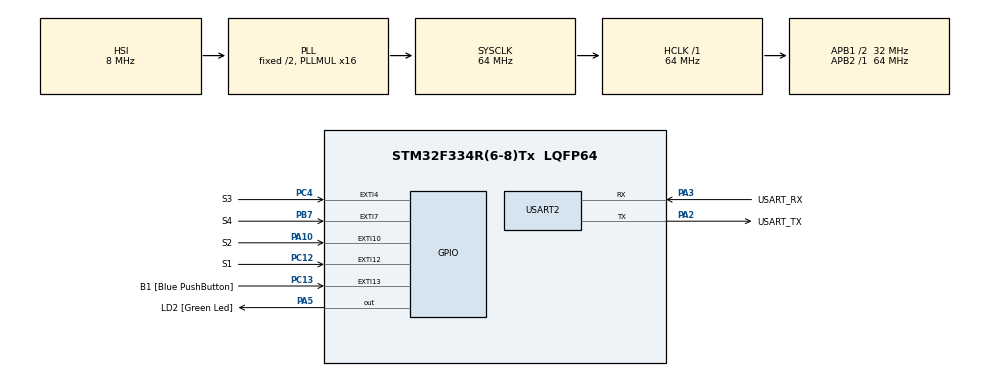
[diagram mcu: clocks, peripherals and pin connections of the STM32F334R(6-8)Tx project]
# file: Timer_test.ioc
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Mcu.Family=STM32F3
Mcu.Name=STM32F334R(6-8)Tx
Mcu.Package=LQFP64
NVIC.EXTI15_10_IRQn=true\:0\:0\:false\:false\:true\:true\:true
NVIC.EXTI4_IRQn=true\:0\:0\:false\:false\:true\:true\:true
NVIC.EXTI9_5_IRQn=true\:0\:0\:false\:false\:true\:true\:true
NVIC.PriorityGroup=NVIC_PRIORITYGROUP_0
NVIC.TIM3_IRQn=true\:0\:0\:false\:false\:true\:true\:true
PA10.GPIO_Label=S2
PA10.Signal=GPXTI10
PA13.GPIO_Label=TMS
PA13.Mode=Serial_Wire
PA13.Signal=SYS_JTMS-SWDIO
PA14.GPIO_Label=TCK
PA14.Mode=Serial_Wire
PA14.Signal=SYS_JTCK-SWCLK
PA2.GPIO_Label=USART_TX
PA2.Mode=Asynchronous
PA2.Signal=USART2_TX
PA3.GPIO_Label=USART_RX
PA3.Mode=Asynchronous
PA3.Signal=USART2_RX
PA5.GPIO_Label=LD2 [Green Led]
PA5.Signal=GPIO_Output
PB3.GPIO_Label=SWO
PB3.Signal=SYS_JTDO-TRACESWO
PB7.GPIO_Label=S4
PB7.Signal=GPXTI7
PC12.GPIO_Label=S1
PC12.Signal=GPXTI12
PC13.GPIO_Label=B1 [Blue PushButton]
PC13.GPIO_ModeDefaultEXTI=GPIO_MODE_IT_FALLING
PC13.Signal=GPXTI13
PC14\ /\ OSC32_IN.Mode=LSE-External-Oscillator
PC14\ /\ OSC32_IN.Signal=RCC_OSC32_IN
PC15\ /\ OSC32_OUT.GPIO_Label=RCC_OSC32_OUT
PC15\ /\ OSC32_OUT.Mode=LSE-External-Oscillator
PC15\ /\ OSC32_OUT.Signal=RCC_OSC32_OUT
PC4.GPIO_Label=S3
PC4.Signal=GPXTI4
PF0\ /\ OSC_IN.Mode=HSE-External-Clock-Source
PF0\ /\ OSC_IN.Signal=RCC_OSC_IN
PF1\ /\ OSC_OUT.Signal=RCC_OSC_OUT
ProjectManager.HeapSize=0x200
ProjectManager.StackSize=0x400
ProjectManager.TargetToolchain=STM32CubeIDE
RCC.AHBFreq_Value=64000000
RCC.APB1CLKDivider=RCC_HCLK_DIV2
RCC.APB1Freq_Value=32000000
RCC.APB1TimFreq_Value=64000000
RCC.APB2Freq_Value=64000000
RCC.APB2TimFreq_Value=64000000
RCC.CortexFreq_Value=64000000
RCC.FLatency-AdvancedSettings=FLASH_LATENCY_2
RCC.HCLKFreq_Value=64000000
RCC.HSE_VALUE=8000000
RCC.HSI_VALUE=8000000
RCC.PLLMUL=RCC_PLL_MUL16
RCC.SYSCLKFreq_VALUE=64000000
RCC.SYSCLKSourceVirtual=RCC_SYSCLKSOURCE_PLLCLK
TIM3.Period=1000
TIM3.Prescaler=64000
USART2.VirtualMode-Asynchronous=VM_ASYNC
VP_TIM3_VS_ClockSourceINT.Mode=Internal
board=NUCLEO-F334R8

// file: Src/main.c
/* USER CODE BEGIN Header */
/**
 ******************************************************************************
 * @file           : main.c
 * @brief          : Main program body
 ******************************************************************************
 * @attention
 *
 * <h2><center>&copy; Copyright (c) 2019 STMicroelectronics.
 * All rights reserved.</center></h2>
 *
 * This software component is licensed by ST under BSD 3-Clause license,
 * the "License"; You may not use this file except in compliance with the
 * License. You may obtain a copy of the License at:
 *                        opensource.org/licenses/BSD-3-Clause
 *
 ******************************************************************************
 */
/* USER CODE END Header */

#include "main.h"

/* USER CODE BEGIN Includes */

#include <string.h>

/* USER CODE END Includes */

TIM_HandleTypeDef htim3;

UART_HandleTypeDef huart2;

void SystemClock_Config(void);
static void MX_GPIO_Init(void);
static void MX_USART2_UART_Init(void);
static void MX_TIM3_Init(void);
/* USER CODE BEGIN PFP */
uint8_t timer[12] = "";

int second = 0;
int minute = 0;
int hour = 0;

int menuOption = 0;
int clockPositionInvertComma = 0;
/* USER CODE END PFP */

int main(void)
{

  /* MCU Configuration--------------------------------------------------------*/

  /* Reset of all peripherals, Initializes the Flash interface and the Systick. */
  HAL_Init();

  /* Configure the system clock */
  SystemClock_Config();

  /* Initialize all configured peripherals */
  MX_GPIO_Init();
  MX_USART2_UART_Init();
  MX_TIM3_Init();
  /* USER CODE BEGIN 2 */
  HAL_TIM_Base_Start_IT(&htim3);
  /* USER CODE END 2 */

  /* Infinite loop */
	while (1) {

    /* USER CODE BEGIN 3 */

		HAL_GPIO_WritePin(LD2_GPIO_Port, LD2_Pin, GPIO_PIN_RESET);
		HAL_Delay(500);
		HAL_GPIO_WritePin(LD2_GPIO_Port, LD2_Pin, 1);
		HAL_Delay(500);

	}
  /* USER CODE END 3 */
}

void SystemClock_Config(void)
{
  RCC_OscInitTypeDef RCC_OscInitStruct = {0};
  RCC_ClkInitTypeDef RCC_ClkInitStruct = {0};

  /** Initializes the CPU, AHB and APB busses clocks
  */
  RCC_OscInitStruct.OscillatorType = RCC_OSCILLATORTYPE_HSI;
  RCC_OscInitStruct.HSIState = RCC_HSI_ON;
  RCC_OscInitStruct.HSICalibrationValue = RCC_HSICALIBRATION_DEFAULT;
  RCC_OscInitStruct.PLL.PLLState = RCC_PLL_ON;
  RCC_OscInitStruct.PLL.PLLSource = RCC_PLLSOURCE_HSI;
  RCC_OscInitStruct.PLL.PLLMUL = RCC_PLL_MUL16;
  if (HAL_RCC_OscConfig(&RCC_OscInitStruct) != HAL_OK)
  {
    Error_Handler();
  }
  /** Initializes the CPU, AHB and APB busses clocks
  */
  RCC_ClkInitStruct.ClockType = RCC_CLOCKTYPE_HCLK|RCC_CLOCKTYPE_SYSCLK
                              |RCC_CLOCKTYPE_PCLK1|RCC_CLOCKTYPE_PCLK2;
  RCC_ClkInitStruct.SYSCLKSource = RCC_SYSCLKSOURCE_PLLCLK;
  RCC_ClkInitStruct.AHBCLKDivider = RCC_SYSCLK_DIV1;
  RCC_ClkInitStruct.APB1CLKDivider = RCC_HCLK_DIV2;
  RCC_ClkInitStruct.APB2CLKDivider = RCC_HCLK_DIV1;

  if (HAL_RCC_ClockConfig(&RCC_ClkInitStruct, FLASH_LATENCY_2) != HAL_OK)
  {
    Error_Handler();
  }
}

static void MX_TIM3_Init(void)
{

  TIM_ClockConfigTypeDef sClockSourceConfig = {0};
  TIM_MasterConfigTypeDef sMasterConfig = {0};

  htim3.Instance = TIM3;
  htim3.Init.Prescaler = 64000;
  htim3.Init.CounterMode = TIM_COUNTERMODE_UP;
  htim3.Init.Period = 1000;
  htim3.Init.ClockDivision = TIM_CLOCKDIVISION_DIV1;
  htim3.Init.AutoReloadPreload = TIM_AUTORELOAD_PRELOAD_DISABLE;
  if (HAL_TIM_Base_Init(&htim3) != HAL_OK)
  {
    Error_Handler();
  }
  sClockSourceConfig.ClockSource = TIM_CLOCKSOURCE_INTERNAL;
  if (HAL_TIM_ConfigClockSource(&htim3, &sClockSourceConfig) != HAL_OK)
  {
    Error_Handler();
  }
  sMasterConfig.MasterOutputTrigger = TIM_TRGO_RESET;
  sMasterConfig.MasterSlaveMode = TIM_MASTERSLAVEMODE_DISABLE;
  if (HAL_TIMEx_MasterConfigSynchronization(&htim3, &sMasterConfig) != HAL_OK)
  {
    Error_Handler();
  }

}

static void MX_USART2_UART_Init(void)
{

  huart2.Instance = USART2;
  huart2.Init.BaudRate = 38400;
  huart2.Init.WordLength = UART_WORDLENGTH_8B;
  huart2.Init.StopBits = UART_STOPBITS_1;
  huart2.Init.Parity = UART_PARITY_NONE;
  huart2.Init.Mode = UART_MODE_TX_RX;
  huart2.Init.HwFlowCtl = UART_HWCONTROL_NONE;
  huart2.Init.OverSampling = UART_OVERSAMPLING_16;
  huart2.Init.OneBitSampling = UART_ONE_BIT_SAMPLE_DISABLE;
  huart2.AdvancedInit.AdvFeatureInit = UART_ADVFEATURE_NO_INIT;
  if (HAL_UART_Init(&huart2) != HAL_OK)
  {
    Error_Handler();
  }

}

static void MX_GPIO_Init(void)
{
  GPIO_InitTypeDef GPIO_InitStruct = {0};

  /* GPIO Ports Clock Enable */
  __HAL_RCC_GPIOC_CLK_ENABLE();
  __HAL_RCC_GPIOF_CLK_ENABLE();
  __HAL_RCC_GPIOA_CLK_ENABLE();
  __HAL_RCC_GPIOB_CLK_ENABLE();

  /*Configure GPIO pin Output Level */
  HAL_GPIO_WritePin(LD2_GPIO_Port, LD2_Pin, GPIO_PIN_RESET);

  /*Configure GPIO pin : B1_Pin */
  GPIO_InitStruct.Pin = B1_Pin;
  GPIO_InitStruct.Mode = GPIO_MODE_IT_FALLING;
  GPIO_InitStruct.Pull = GPIO_NOPULL;
  HAL_GPIO_Init(B1_GPIO_Port, &GPIO_InitStruct);

  /*Configure GPIO pin : LD2_Pin */
  GPIO_InitStruct.Pin = LD2_Pin;
  GPIO_InitStruct.Mode = GPIO_MODE_OUTPUT_PP;
  GPIO_InitStruct.Pull = GPIO_NOPULL;
  GPIO_InitStruct.Speed = GPIO_SPEED_FREQ_LOW;
  HAL_GPIO_Init(LD2_GPIO_Port, &GPIO_InitStruct);

  /*Configure GPIO pins : S3_Pin S1_Pin */
  GPIO_InitStruct.Pin = S3_Pin|S1_Pin;
  GPIO_InitStruct.Mode = GPIO_MODE_IT_RISING;
  GPIO_InitStruct.Pull = GPIO_NOPULL;
  HAL_GPIO_Init(GPIOC, &GPIO_InitStruct);

  /*Configure GPIO pin : S2_Pin */
  GPIO_InitStruct.Pin = S2_Pin;
  GPIO_InitStruct.Mode = GPIO_MODE_IT_RISING;
  GPIO_InitStruct.Pull = GPIO_NOPULL;
  HAL_GPIO_Init(S2_GPIO_Port, &GPIO_InitStruct);

  /*Configure GPIO pin : S4_Pin */
  GPIO_InitStruct.Pin = S4_Pin;
  GPIO_InitStruct.Mode = GPIO_MODE_IT_RISING;
  GPIO_InitStruct.Pull = GPIO_NOPULL;
  HAL_GPIO_Init(S4_GPIO_Port, &GPIO_InitStruct);

  /* EXTI interrupt init*/
  HAL_NVIC_SetPriority(EXTI4_IRQn, 0, 0);
  HAL_NVIC_EnableIRQ(EXTI4_IRQn);

  HAL_NVIC_SetPriority(EXTI9_5_IRQn, 0, 0);
  HAL_NVIC_EnableIRQ(EXTI9_5_IRQn);

  HAL_NVIC_SetPriority(EXTI15_10_IRQn, 0, 0);
  HAL_NVIC_EnableIRQ(EXTI15_10_IRQn);

}

/* USER CODE BEGIN 4 */
void clockSecondCounter() {
	if(second == 59) {
		second = 0;
		minute ++;
		if(minute == 59) {
			  minute = 0;
			  hour ++;
			if(hour == 59) {
			  hour = 0;
			}
		}
	}
	second ++;

}

void addTimerCounter() {
	  if(clockPositionInvertComma == SECOND_CASE) {
		  if(second == 59) {
			second = 0;
			minute ++;
			return;
		}
		second ++;
	  }

	  if(clockPositionInvertComma == MINUTE_CASE) {
		  if(minute == 59) {
			  minute = 0;
			  hour ++;
			  return;
		  }
		  minute ++;
	  }

	  if(clockPositionInvertComma == HOUR_CASE) {
		  if(hour == 59) {
			  hour = 0;
			  return;
		  }
		  hour ++;
	  }
  }

void subTimerCounter() {
	  if(clockPositionInvertComma == SECOND_CASE) {
		  if(second == 0) {
			second = 59;
			minute --;
			return;
		}
		second --;
	  }

	  if(clockPositionInvertComma == MINUTE_CASE) {
		  if(minute == 0) {
			  minute = 59;
			  hour --;
			  return;
		  }
		  minute --;
	  }

	  if(clockPositionInvertComma == HOUR_CASE) {
		  if(hour == 00) {
			  hour = 59;
			  return;
		  }
		  hour --;
	  }
  }

void printSerialConsole(){
	if(menuOption == 0){
		sprintf(timer,"%d:%d:%d\r\n", hour, minute, second);
	}

	if(menuOption == 1){
		if(clockPositionInvertComma == 0)
			sprintf(timer,"'%d':%d:%d\r\n", hour, minute, second);

		if(clockPositionInvertComma == 1)
			sprintf(timer,"%d:'%d':%d\r\n", hour, minute, second);

		if(clockPositionInvertComma == 2)
			sprintf(timer,"%d:%d:'%d'\r\n", hour, minute, second);

		if(clockPositionInvertComma == 3)
			sprintf(timer,"%d:%d:'%d'    'START'\r\n", hour, minute, second);
	}

	if (HAL_UART_Transmit(&huart2, (uint8_t*) timer, 12, 100) != HAL_OK) {
		Error_Handler();
	}
}
void HAL_TIM_PeriodElapsedCallback(TIM_HandleTypeDef *htim){
	if(menuOption == CLOCK_OPTION)
		clockSecondCounter();

	printSerialConsole();

}

void HAL_GPIO_EXTI_Callback(uint16_t GPIO_Pin)
{
	/* Inverte o led  */
	HAL_GPIO_TogglePin(GPIOA, GPIO_PIN_5);

	if(GPIO_Pin == S1_Pin){
		addTimerCounter();
	}

	if(GPIO_Pin == S2_Pin){
		subTimerCounter();
	}

	if(GPIO_Pin == S3_Pin){
		if(clockPositionInvertComma == 3){
			return;
		}

		clockPositionInvertComma ++;
	}

	if(GPIO_Pin == S4_Pin){
		if(clockPositionInvertComma == 0){
			return;
		}

		clockPositionInvertComma --;
	}

	if (GPIO_Pin == B1_Pin)
	{
		if(menuOption == 0) {
		  menuOption = 1;
		} else {
		  menuOption = 0;
		}
	}
}
/* USER CODE END 4 */

void Error_Handler(void)
{
}

/************************ (C) COPYRIGHT STMicroelectronics *****END OF FILE****/
